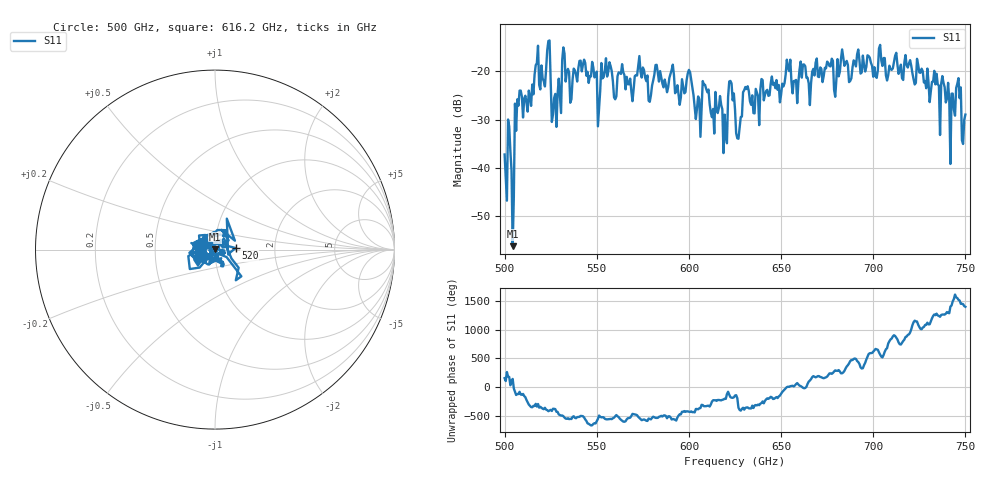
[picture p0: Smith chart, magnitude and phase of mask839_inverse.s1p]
!Created with skrf (http://scikit-rf.org).
# GHz S MA R 50.0
!freq magS11 angS11
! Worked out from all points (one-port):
!   401 points, 500 GHz to 750 GHz, reference 50 ohm
!   lowest |S11| = -56.3 dB at 504.4 GHz (marker M1), VSWR 1.00, Z = 49.9 + j0.0883 ohm
!   |S11| at or under -10 dB: start of sweep to end of sweep
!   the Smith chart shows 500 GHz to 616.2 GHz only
!   S11 on the Smith chart (normalised r, x): 500 GHz: 0.97, +0.01; 520 GHz: 1.26, +0.02; 616.2 GHz: 0.94, +0.05
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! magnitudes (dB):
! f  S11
! 500 GHz  -37.2
! 504.4 GHz  -56.3
! 508.1 GHz  -24.0
! 520 GHz  -18.8
! 523.8 GHz  -13.7
! 526.9 GHz  -25.5
! 531.2 GHz  -17.6
! 542.5 GHz  -18.6
! 550.6 GHz  -31.4
! 562.5 GHz  -20.3
! 579.4 GHz  -25.0
! 590.6 GHz  -19.7
! 593.8 GHz  -22.9
! 600 GHz  -19.7
! 605 GHz  -25.2
! 608.8 GHz  -22.8
! 616.2 GHz  -27.6
! 619.4 GHz  -29.0
! 623.1 GHz  -22.5
! 625 GHz  -27.9
! 626.9 GHz  -34.0
! 630.6 GHz  -23.2
! 656.2 GHz  -24.6
! 687.5 GHz  -22.0
! 718.8 GHz  -19.2
! 743.1 GHz  -24.6
! 746.2 GHz  -21.4
! 750 GHz  -29.0
